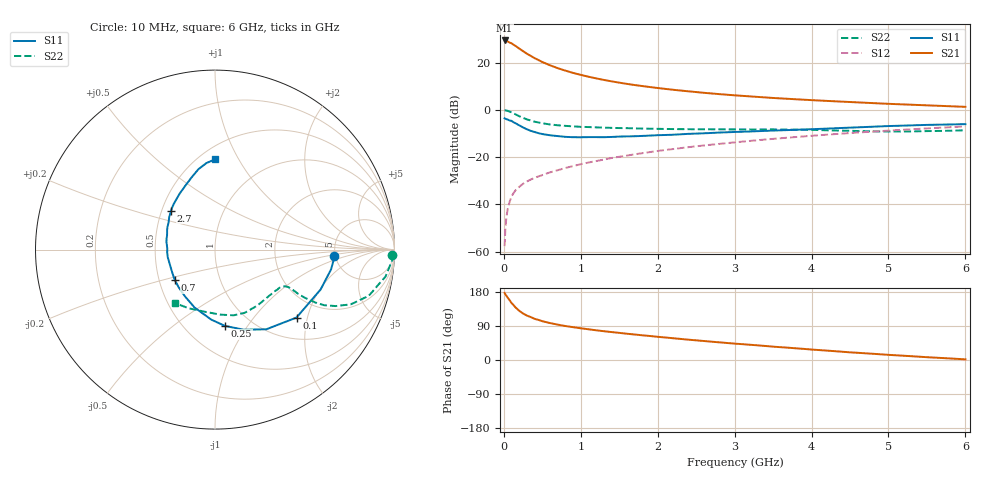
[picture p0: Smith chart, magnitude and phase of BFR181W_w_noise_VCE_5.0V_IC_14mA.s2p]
! (c) 2017  Infineon Technologies AG, Munich
! Infineon Technologies  Discrete & RF Semiconductors
! BFR181W
! VCE =  5.0 V,  IC =  14 mA
! Common Emitter S-Parameters:  Jan 2017
# GHz  S  MA  R  50
!  f  S11  S21  S12  S22
! GHz  MAG  ANG  MAG  ANG  MAG  ANG  MAG  ANG
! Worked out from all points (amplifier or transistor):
!   77 points, 10 MHz to 6 GHz, reference 50 ohm
!   highest |S21| = 29.5 dB at 10 MHz (marker M1)
!   |S21| within 3 dB of that: start of sweep to 181.2 MHz
!   unconditionally stable (mu >= 1): 847.8 MHz to 2.767 GHz
!   at 130 MHz: K = 0.33, MSG = 31.3 dB, |S12| = -35.0 dB
!   at 2.2 GHz: K = 1.04, MAG = 11.3 dB, |S12| = -16.5 dB
!   at 6 GHz: K = 0.84, MSG = 4.1 dB, |S12| = -6.9 dB
!   lowest NFmin = 1.43 dB at 450 MHz
!   S11 on the Smith chart (normalised r, x): 10 MHz: 4.90, -0.68; 100 MHz: 1.47, -1.72; 250 MHz: 0.76, -0.79; 700 MHz: 0.60, -0.22; 2.7 GHz: 0.56, +0.27; 6 GHz: 0.60, +0.80
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0.01  0.6668 -3.3  29.91 177.1  0.0013 89.4  0.9871 -1.6
0.02  0.6563 -9.6  29.62 173.3  0.0031 90.2  0.9893 -3.4
0.05  0.629 -20.7  28.51 164.4  0.0079 78.2  0.9618 -9.0
0.1  0.5911 -39.8  25.99 150.4  0.0147 75.0  0.8947 -16.7
0.15  0.5282 -57.2  23.02 139.1  0.0197 69.5  0.8149 -22.0
0.2  0.4742 -70.3  20.14 129.9  0.0235 66.1  0.7417 -25.1
0.25  0.4282 -82.7  17.72 122.7  0.0274 63.5  0.6828 -27.0
0.3  0.3907 -93.0  15.65 117.1  0.0306 62.9  0.6334 -27.8
0.4  0.3424 -109.4  12.6 108.6  0.0366 63.5  0.5663 -28.2
0.5  0.3097 -122.7  10.44 102.4  0.0418 64.1  0.5242 -28.0
0.6  0.292 -133.7  8.906 97.5  0.0477 65.2  0.4957 -27.5
0.7  0.2806 -143.2  7.738 93.4  0.053 67.0  0.476 -27.1
0.9  0.2658 -158.8  6.136 86.6  0.065 68.2  0.4509 -27.3
1.1  0.2668 -170.7  5.096 81.1  0.0772 69.9  0.4359 -28.0
1.3  0.2659 178.9  4.351 76.0  0.0891 69.8  0.4244 -29.5
1.5  0.274 171.0  3.811 71.6  0.1022 70.1  0.4152 -31.3
2.1  0.2962 152.1  2.811 59.4  0.1424 68.9  0.3975 -39.8
2.7  0.3272 138.3  2.249 48.4  0.1845 66.5  0.3906 -50.6
3.1  0.3471 130.1  2.001 41.8  0.2141 64.2  0.3883 -57.8
4.1  0.3984 113.4  1.593 26.2  0.2926 57.2  0.3761 -76.3
5.1  0.4629 100.3  1.336 12.4  0.3748 48.6  0.3504 -102.1
6  0.5029 89.9  1.17 1.7  0.45 39.9  0.3731 -127.1
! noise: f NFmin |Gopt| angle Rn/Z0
0.45  1.43  0.06  16  0.21
0.9  1.48  0.06  32  0.21
1.9  1.92  0.11  -141  0.21
2.4  2.13  0.14  -109  0.27
